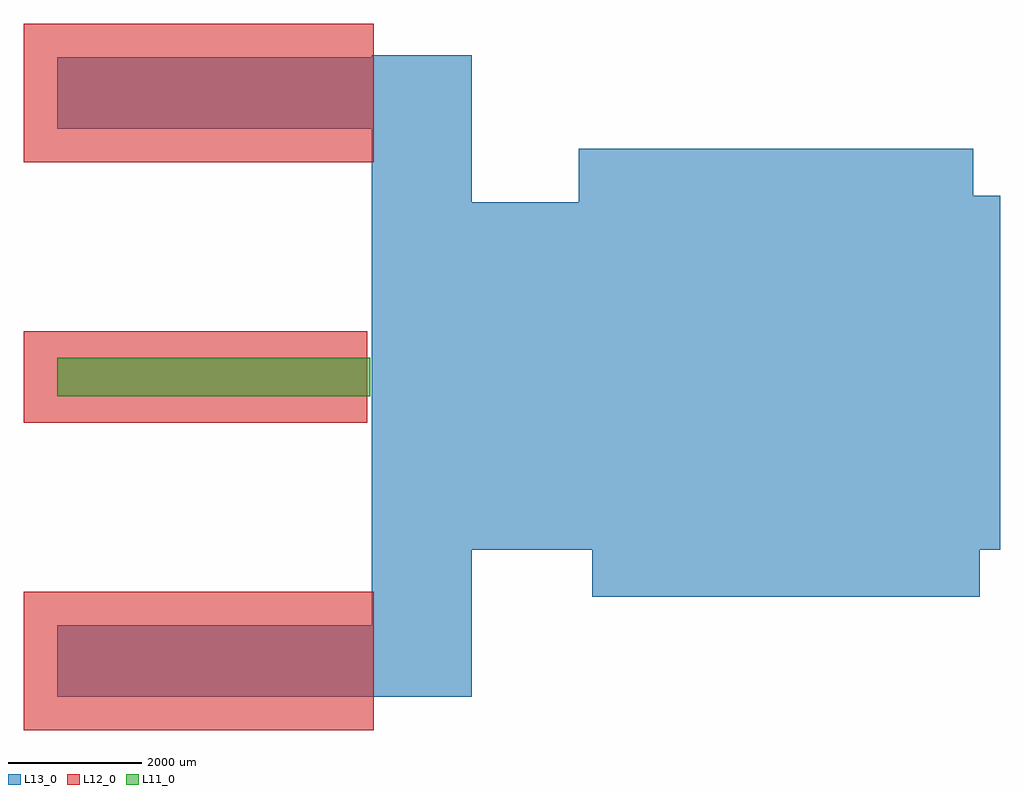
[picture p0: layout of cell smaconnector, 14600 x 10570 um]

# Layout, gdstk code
import gdstk
lib = gdstk.Library(unit=1e-6, precision=1e-09)
def R(c, l, rs):  # rectangles x0, y0, x1, y1
    for r in rs: c.add(gdstk.rectangle(r[:2], r[2:], *l))
def P(c, l, *ps):  # polygons
    for p in ps: c.add(gdstk.Polygon(p, *l))
L11_0 = (11, 0)
L12_0 = (12, 0)
L13_0 = (13, 0)

smaconnector = lib.new_cell('smaconnector')
R(smaconnector, L11_0, [(-300,-300,4381,270)])
R(smaconnector, L12_0, [(-800,-5300,4432,-3230), (-800,-700,4332,670), (-800,3200,4432,5270)])
R(smaconnector, L13_0, [(-300,-4800,4432,-3730), (-300,-4800,4432,-3730), (4400,-4800,5900,4800), (-300,3700,4432,4770), (-300,3700,4432,4770)])
P(smaconnector, L13_0, [(5900,2600),(7500,2600),(7500,3400),(13400,3400),(13400,2700),(13800,2700),(13800,-2600),(13500,-2600),(13500,-3300),(7700,-3300),(7700,-2600),(5900,-2600)])

lib.write_gds('smaconnector.gds')
